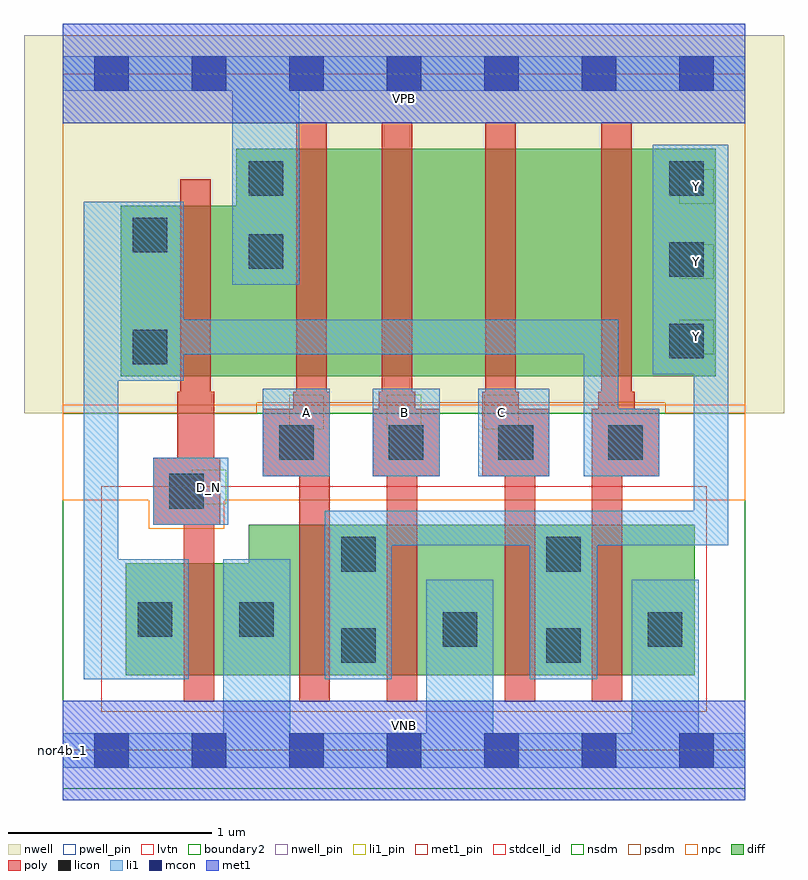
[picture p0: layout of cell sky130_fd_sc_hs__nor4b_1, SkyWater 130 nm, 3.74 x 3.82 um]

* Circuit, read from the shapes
.subckt sky130_fd_sc_hs__nor4b_1 A B C D_N VGND VNB VPB VPWR Y
XM1 VGND D_N n1 VNB sky130_fd_pr__nfet_01v8_lvt w=0.55 l=0.15
XM2 Y A VGND VNB sky130_fd_pr__nfet_01v8_lvt w=0.74 l=0.15
XM3 VGND B Y VNB sky130_fd_pr__nfet_01v8_lvt w=0.74 l=0.15
XM4 Y C VGND VNB sky130_fd_pr__nfet_01v8_lvt w=0.74 l=0.15
XM5 VGND n1 Y VNB sky130_fd_pr__nfet_01v8_lvt w=0.74 l=0.15
XM6 VPWR D_N n1 VPB sky130_fd_pr__pfet_01v8 w=0.84 l=0.15
XM7 n2 A VPWR VPB sky130_fd_pr__pfet_01v8 w=1.12 l=0.15
XM8 n3 B n2 VPB sky130_fd_pr__pfet_01v8 w=1.12 l=0.15
XM9 n4 C n3 VPB sky130_fd_pr__pfet_01v8 w=1.12 l=0.15
XM10 Y n1 n4 VPB sky130_fd_pr__pfet_01v8 w=1.12 l=0.15
.ends

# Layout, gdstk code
import gdstk
lib = gdstk.Library(unit=1e-6, precision=1e-09)
def R(c, l, rs):  # rectangles x0, y0, x1, y1
    for r in rs: c.add(gdstk.rectangle(r[:2], r[2:], *l))
def A(c, l, x, y, w, h, nx, ny, dx, dy):  # array of equal rectangles
    R(c, l, [(x+i*dx, y+j*dy, x+i*dx+w, y+j*dy+h) for i in range(nx) for j in range(ny)])
def P(c, l, *ps):  # polygons
    for p in ps: c.add(gdstk.Polygon(p, *l))
nwell_pin = (64, 16)
nwell = (64, 20)
diff = (65, 20)
poly = (66, 20)
licon = (66, 44)
li1_pin = (67, 16)
li1 = (67, 20)
mcon = (67, 44)
met1_pin = (68, 16)
met1 = (68, 20)
stdcell_id = (81, 4)
nsdm = (93, 44)
psdm = (94, 20)
npc = (95, 20)
pwell_pin = (122, 16)
lvtn = (125, 44)
boundary2 = (236, 0)

sky130_fd_sc_hs__nor4b_1 = lib.new_cell('sky130_fd_sc_hs__nor4b_1')
R(sky130_fd_sc_hs__nor4b_1, nwell_pin, [(0,3.085,3.36,3.33)])
R(sky130_fd_sc_hs__nor4b_1, nwell, [(-0.19,1.66,3.55,3.52)])
P(sky130_fd_sc_hs__nor4b_1, diff, [(3.11,1.11),(0.915,1.11),(0.915,0.92),(0.31,0.92),(0.31,0.37),(3.11,0.37)],
  [(3.215,2.96),(0.855,2.96),(0.855,2.68),(0.285,2.68),(0.285,1.84),(3.215,1.84)])
P(sky130_fd_sc_hs__nor4b_1, poly, [(2.935,1.68),(2.815,1.68),(2.815,1.765),(2.8,1.765),(2.8,3.09),(2.65,3.09),(2.65,1.765),(2.635,1.765),(2.635,1.68),(2.605,1.68),(2.605,0.24),(2.755,0.24),(2.755,1.35),(2.935,1.35)],
  [(0.775,1.44),(0.745,1.44),(0.745,1.765),(0.73,1.765),(0.73,2.81),(0.58,2.81),(0.58,1.765),(0.565,1.765),(0.565,1.44),(0.445,1.44),(0.445,1.11),(0.595,1.11),(0.595,0.24),(0.745,0.24),(0.745,1.11),(0.775,1.11)],
  [(1.315,1.765),(1.3,1.765),(1.3,3.09),(1.15,3.09),(1.15,1.765),(1.135,1.765),(1.135,1.68),(0.985,1.68),(0.985,1.35),(1.165,1.35),(1.165,0.24),(1.315,0.24)],
  [(1.855,1.68),(1.735,1.68),(1.735,1.765),(1.72,1.765),(1.72,3.09),(1.57,3.09),(1.57,1.765),(1.555,1.765),(1.555,1.68),(1.525,1.68),(1.525,1.35),(1.595,1.35),(1.595,0.24),(1.745,0.24),(1.745,1.35),(1.855,1.35)],
  [(2.395,1.68),(2.245,1.68),(2.245,1.765),(2.23,1.765),(2.23,3.09),(2.08,3.09),(2.08,1.765),(2.065,1.765),(2.065,1.35),(2.175,1.35),(2.175,0.24),(2.325,0.24),(2.325,1.35),(2.395,1.35)])
A(sky130_fd_sc_hs__nor4b_1, licon, 1.065, 1.43, 0.17, 0.17, 4, 1, 0.54, 0)
A(sky130_fd_sc_hs__nor4b_1, licon, 2.985, 1.93, 0.17, 0.17, 1, 3, 0, 0.4)
R(sky130_fd_sc_hs__nor4b_1, licon, [(1.37,0.43,1.54,0.6), (2.38,0.43,2.55,0.6), (1.87,0.51,2.04,0.68), (2.88,0.51,3.05,0.68), (0.37,0.56,0.54,0.73), (0.87,0.56,1.04,0.73), (1.37,0.88,1.54,1.05), (2.38,0.88,2.55,1.05), (0.525,1.19,0.695,1.36), (0.345,1.9,0.515,2.07), (0.915,2.37,1.085,2.54), (0.345,2.45,0.515,2.62), (0.915,2.73,1.085,2.9)])
A(sky130_fd_sc_hs__nor4b_1, li1_pin, 1.115, 1.58, 0.17, 0.17, 3, 1, 0.48, 0)
A(sky130_fd_sc_hs__nor4b_1, li1_pin, 3.035, 1.95, 0.17, 0.17, 1, 3, 0, 0.37)
R(sky130_fd_sc_hs__nor4b_1, li1_pin, [(0.635,1.21,0.805,1.38)])
R(sky130_fd_sc_hs__nor4b_1, li1, [(0.445,1.11,0.815,1.44), (0.985,1.35,1.315,1.78), (1.525,1.35,1.855,1.78), (2.045,1.35,2.395,1.78)])
P(sky130_fd_sc_hs__nor4b_1, li1, [(0,-0.085),(0,0.085),(0.79,0.085),(0.79,0.94),(1.12,0.94),(1.12,0.085),(1.79,0.085),(1.79,0.84),(2.12,0.84),(2.12,0.085),(2.8,0.085),(2.8,0.84),(3.13,0.84),(3.13,0.085),(3.36,0.085),(3.36,-0.085)],
  [(0,3.245),(0,3.415),(3.36,3.415),(3.36,3.245),(1.165,3.245),(1.165,2.29),(0.835,2.29),(0.835,3.245)],
  [(2.905,1.85),(2.905,2.98),(3.275,2.98),(3.275,1.01),(2.63,1.01),(2.63,0.35),(2.3,0.35),(2.3,1.01),(1.62,1.01),(1.62,0.35),(1.29,0.35),(1.29,1.18),(3.105,1.18),(3.105,1.85)],
  [(0.105,2.7),(0.595,2.7),(0.595,2.12),(2.735,2.12),(2.735,1.68),(2.935,1.68),(2.935,1.35),(2.565,1.35),(2.565,1.95),(0.595,1.95),(0.595,1.82),(0.275,1.82),(0.275,0.94),(0.62,0.94),(0.62,0.35),(0.105,0.35)])
A(sky130_fd_sc_hs__nor4b_1, mcon, 0.155, -0.085, 0.17, 0.17, 7, 2, 0.48, 3.33)
R(sky130_fd_sc_hs__nor4b_1, met1_pin, [(0,0,3.36,0.245), (0,3.085,3.36,3.33)])
R(sky130_fd_sc_hs__nor4b_1, met1, [(0,-0.245,3.36,0.245), (0,3.085,3.36,3.575)])
R(sky130_fd_sc_hs__nor4b_1, stdcell_id, [(0,0,3.36,3.33)])
R(sky130_fd_sc_hs__nor4b_1, nsdm, [(0,-0.19,3.36,1.66)])
P(sky130_fd_sc_hs__nor4b_1, psdm, [(3.36,3.52),(0,3.52),(0,1.66),(0.955,1.66),(0.955,1.71),(2.965,1.71),(2.965,1.66),(3.36,1.66)])
P(sky130_fd_sc_hs__nor4b_1, npc, [(3.36,1.7),(0,1.7),(0,1.23),(0.425,1.23),(0.425,1.09),(0.795,1.09),(0.795,1.23),(3.36,1.23)])
R(sky130_fd_sc_hs__nor4b_1, pwell_pin, [(0,0,3.36,0.245)])
R(sky130_fd_sc_hs__nor4b_1, lvtn, [(0.19,0.19,3.17,1.3)])
R(sky130_fd_sc_hs__nor4b_1, boundary2, [(0,0,3.36,3.33)])
sky130_fd_sc_hs__nor4b_1.add(gdstk.Label('nor4b_1', (0,0), layer=83, texttype=44))
sky130_fd_sc_hs__nor4b_1.add(gdstk.Label('VNB', (1.68,0.123), layer=64, texttype=59))
sky130_fd_sc_hs__nor4b_1.add(gdstk.Label('VPB', (1.68,3.208), layer=64, texttype=5))
sky130_fd_sc_hs__nor4b_1.add(gdstk.Label('VPWR', (1.68,3.208), layer=68, texttype=5))
sky130_fd_sc_hs__nor4b_1.add(gdstk.Label('VGND', (1.68,0.123), layer=68, texttype=5))
sky130_fd_sc_hs__nor4b_1.add(gdstk.Label('Y', (3.12,2.035), layer=67, texttype=5))
sky130_fd_sc_hs__nor4b_1.add(gdstk.Label('Y', (3.12,2.405), layer=67, texttype=5))
sky130_fd_sc_hs__nor4b_1.add(gdstk.Label('Y', (3.12,2.775), layer=67, texttype=5))
sky130_fd_sc_hs__nor4b_1.add(gdstk.Label('D_N', (0.72,1.295), layer=67, texttype=5))
sky130_fd_sc_hs__nor4b_1.add(gdstk.Label('A', (1.2,1.665), layer=67, texttype=5))
sky130_fd_sc_hs__nor4b_1.add(gdstk.Label('B', (1.68,1.665), layer=67, texttype=5))
sky130_fd_sc_hs__nor4b_1.add(gdstk.Label('C', (2.16,1.665), layer=67, texttype=5))

lib.write_gds('sky130_fd_sc_hs__nor4b_1.gds')
